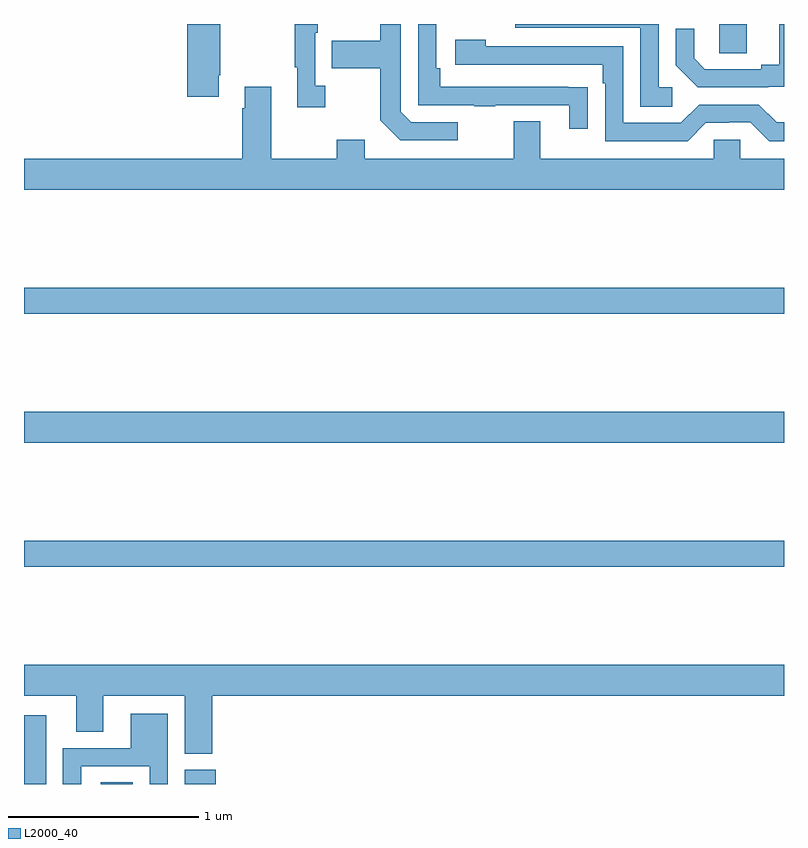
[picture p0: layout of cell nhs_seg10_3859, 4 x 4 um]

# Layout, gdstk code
import gdstk
lib = gdstk.Library(unit=1e-6, precision=1e-09)
def R(c, l, rs):  # rectangles x0, y0, x1, y1
    for r in rs: c.add(gdstk.rectangle(r[:2], r[2:], *l))
def P(c, l, *ps):  # polygons
    for p in ps: c.add(gdstk.Polygon(p, *l))
L2000_40 = (2000, 40)

nhs_seg10_3859 = lib.new_cell('nhs_seg10_3859')
R(nhs_seg10_3859, L2000_40, [(323,1318.5,323.116,1318.861), (323.405,1318.5,323.572,1318.508), (323.846,1318.5,324.008,1318.575), (323,1319.644,327,1319.78), (323,1320.296,327,1320.46), (323,1320.976,327,1321.112), (326.658,1322.347,326.803,1322.5)])
P(nhs_seg10_3859, L2000_40, [(326.413,1322.166),(326.34,1322.166),(326.34,1322.5),(325.585,1322.5),(325.585,1322.481),(326.244,1322.481),(326.244,1322.065),(326.413,1322.065)],
  [(324.025,1322.23),(324.033,1322.23),(324.033,1322.5),(323.858,1322.5),(323.858,1322.118),(324.025,1322.118)],
  [(325.967,1322.168),(325.865,1322.168),(325.865,1322.169),(325.19,1322.169),(325.19,1322.266),(325.17,1322.266),(325.17,1322.5),(325.074,1322.5),(325.074,1322.073),(325.369,1322.073),(325.369,1322.068),(325.481,1322.068),(325.481,1322.073),(325.871,1322.073),(325.871,1321.95),(325.967,1321.95)],
  [(326.918,1322.169),(327,1322.169),(327,1322.5),(326.975,1322.5),(326.975,1322.285),(326.879,1322.285),(326.879,1322.262),(326.584,1322.262),(326.527,1322.319),(326.527,1322.476),(326.43,1322.476),(326.43,1322.282),(326.546,1322.166),(326.918,1322.166)],
  [(324.586,1322.174),(324.534,1322.174),(324.534,1322.453),(324.547,1322.453),(324.547,1322.5),(324.426,1322.5),(324.426,1322.273),(324.437,1322.273),(324.437,1322.061),(324.586,1322.061)],
  [(325.282,1321.983),(325.038,1321.983),(324.984,1322.037),(324.984,1322.5),(324.876,1322.5),(324.876,1322.413),(324.619,1322.413),(324.619,1322.266),(324.876,1322.266),(324.876,1321.993),(324.981,1321.887),(325.282,1321.887)],
  [(327,1321.983),(326.961,1321.983),(326.868,1322.076),(326.553,1322.076),(326.457,1321.98),(326.154,1321.98),(326.154,1322.382),(325.43,1322.382),(325.43,1322.416),(325.269,1322.416),(325.269,1322.286),(326.045,1322.286),(326.045,1322.189),(326.058,1322.189),(326.058,1321.884),(326.493,1321.884),(326.589,1321.98),(326.708,1321.98),(326.708,1321.983),(326.823,1321.983),(326.923,1321.883),(327,1321.883)],
  [(327,1321.792),(326.769,1321.792),(326.769,1321.89),(326.631,1321.89),(326.631,1321.792),(325.717,1321.792),(325.717,1321.987),(325.577,1321.987),(325.577,1321.792),(324.793,1321.792),(324.793,1321.891),(324.646,1321.891),(324.646,1321.792),(324.301,1321.792),(324.301,1322.17),(324.161,1322.17),(324.161,1322.057),(324.149,1322.057),(324.149,1321.792),(323,1321.792),(323,1321.628),(327,1321.628)],
  [(323.99,1318.964),(327,1318.964),(327,1319.128),(323,1319.128),(323,1318.964),(323.276,1318.964),(323.276,1318.774),(323.416,1318.774),(323.416,1318.964),(323.846,1318.964),(323.846,1318.66),(323.99,1318.66)],
  [(323.301,1318.593),(323.661,1318.593),(323.661,1318.5),(323.757,1318.5),(323.757,1318.87),(323.561,1318.87),(323.561,1318.689),(323.205,1318.689),(323.205,1318.5),(323.301,1318.5)])

lib.write_gds('nhs_seg10_3859.gds')
